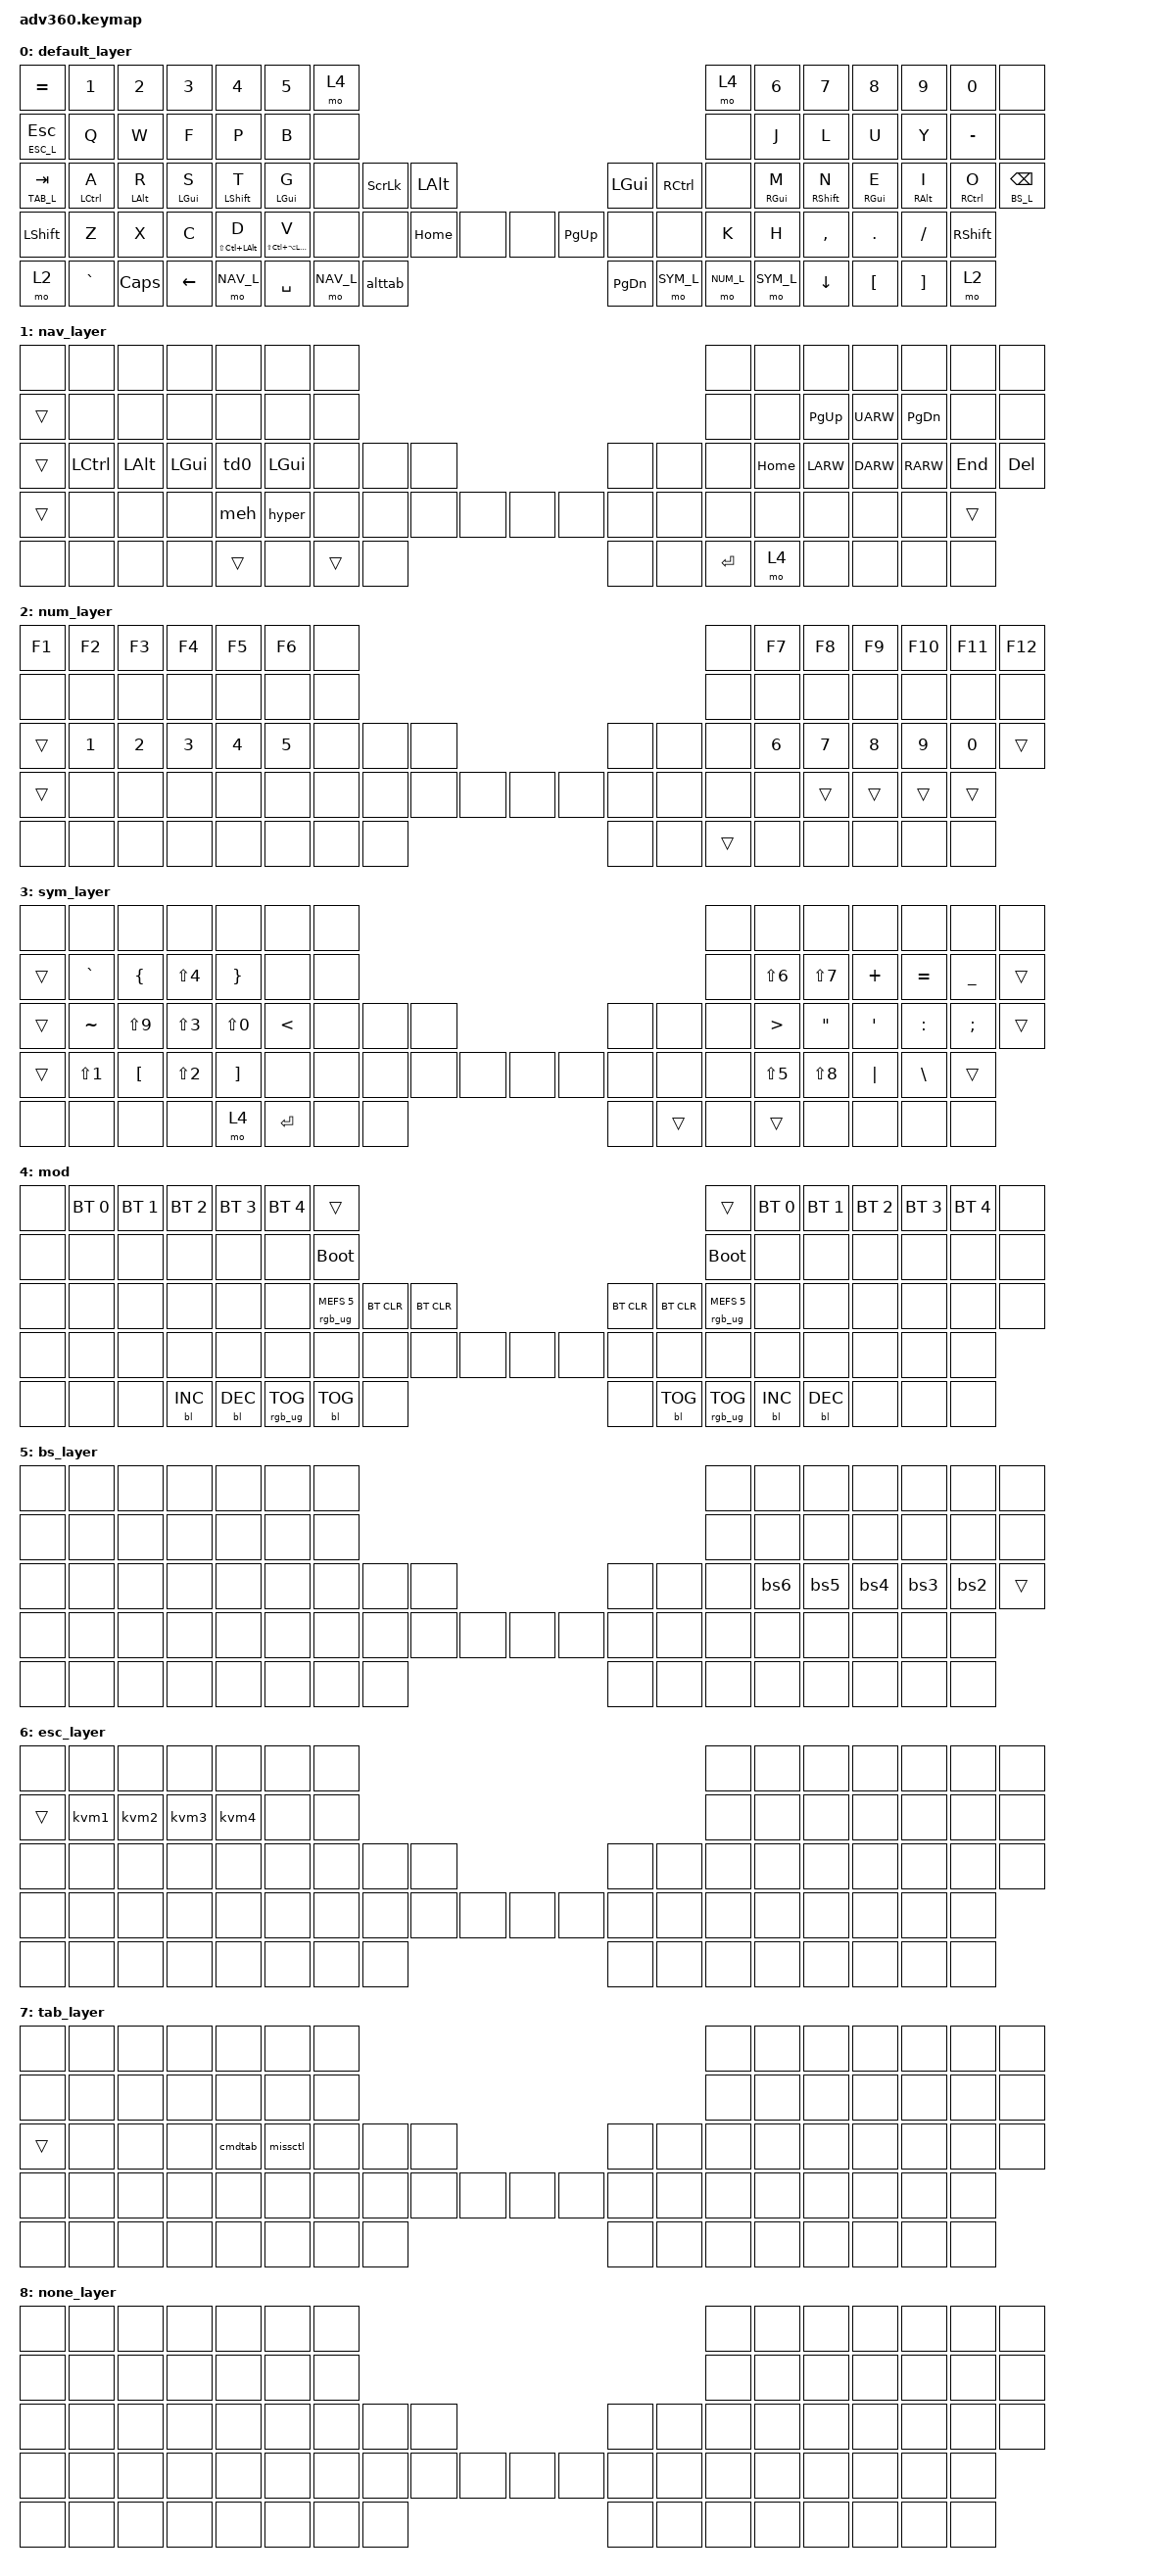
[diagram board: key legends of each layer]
#include <behaviors.dtsi>
#include <dt-bindings/zmk/keys.h>
#include <dt-bindings/zmk/bt.h>
#include <dt-bindings/zmk/rgb.h>
#include <dt-bindings/zmk/backlight.h>


#define BAS_L 0
#define NAV_L 1
#define NUM_L 2
#define SYM_L 3
#define MEDIA_L 4
#define BS_L 5
#define ESC_L 6
#define TAB_L 7

#define TAPPING_TERM 200

#define HYP LS(LC(LA(LGUI)))
#define HYPER(key) LS(LC(LA(LG(key))))

#define MEH LS(LC(LALT))
#define MEHK(key) LS(LC(LA(key)))

// Using layer taps on thumbs, having quick tap as well helps w/ repeating space/backspace
&lt { quick_tap_ms = <200>; };

&mt {
    tapping-term-ms = <TAPPING_TERM>;
    flavor = "tap-preferred";
};

/ {
    behaviors {
      #include "macros.dtsi"

      hm: homerow_mods {
          compatible = "zmk,behavior-hold-tap";
          label = "HOMEROW_MODS";
          #binding-cells = <2>;
          tapping-term-ms = <200>;
          quick_tap_ms = <175>;
          flavor = "tap-preferred";
          bindings = <&kp>, <&kp>;
      };

      td0: tap_dance_0 {
            compatible = "zmk,behavior-tap-dance";
            label = "TAP_DANCE_0";
            #binding-cells = <0>;
            tapping-term-ms = <300>;
            bindings = <&paste>, <&copy>, <&cut>;
        };  
    };
    macros {
        paste: paste {
            label = "paste_key";
            compatible = "zmk,behavior-macro";
            #binding-cells = <0>;
            wait-ms = <20>;
            bindings
                = <&macro_tap_time 20>
                , <&macro_press &kp LGUI>
                , <&macro_tap &kp V>
                , <&macro_release &kp LGUI>
                ;
        };
        copy: copy {
            label = "copy_key";
            compatible = "zmk,behavior-macro";
            #binding-cells = <0>;
            wait-ms = <20>;
            bindings
                = <&macro_tap_time 20>
                , <&macro_press &kp LGUI>
                , <&macro_tap &kp C>
                , <&macro_release &kp LGUI>
                ;
        };
        cut: cut {
            label = "cut_key";
            compatible = "zmk,behavior-macro";
            #binding-cells = <0>;
            wait-ms = <20>;
            bindings
                = <&macro_tap_time 20>
                , <&macro_press &kp LGUI>
                , <&macro_tap &kp X>
                , <&macro_release &kp LGUI>
                ;
        };
        cuthold: cuthold {
            label = "cuthold_key";
            compatible = "zmk,behavior-macro";
            #binding-cells = <0>;
            wait-ms = <20>;
            bindings
                = <&macro_tap_time 20>
                , <&macro_press &kp LGUI &kp X>
                , <&macro_pause_for_release>
                , <&macro_press &kp LGUI &kp V>
                ;
        };

        hyper: hyper {
            label = "hyper_key";
            compatible = "zmk,behavior-macro";
            #binding-cells = <0>;
            wait-ms = <10>;
            bindings
                = <&macro_tap_time 10>
                , <&macro_press &kp LSHFT &kp LCTRL &kp LALT &kp LGUI>
                , <&macro_pause_for_release>
                , <&macro_release &kp LSHFT &kp LCTRL &kp LALT &kp LGUI>
                ;
        };
        meh: meh {
            label = "meh_key";
            compatible = "zmk,behavior-macro";
            #binding-cells = <0>;
            wait-ms = <10>;
            bindings
                = <&macro_tap_time 10>
                , <&macro_press &kp LSHFT &kp LCTRL &kp LALT>
                , <&macro_pause_for_release>
                , <&macro_release &kp LSHFT &kp LCTRL &kp LALT>
                ;
        };
        bs2: bs2 {
            label = "bs2";
            compatible = "zmk,behavior-macro";
            #binding-cells = <0>;
            wait-ms = <10>;
            bindings
                = <&macro_tap_time 20>
                , <&macro_tap &kp BKSP &kp BKSP>
                ;
        };
        bs3: bs3 {
            label = "bs3";
            compatible = "zmk,behavior-macro";
            #binding-cells = <0>;
            wait-ms = <10>;
            bindings
                = <&macro_tap_time 20>
                , <&macro_tap &kp BKSP &kp BKSP &kp BKSP>
                ;
        };
        bs4: bs4 {
            label = "bs4";
            compatible = "zmk,behavior-macro";
            #binding-cells = <0>;
            wait-ms = <10>;
            bindings
                = <&macro_tap_time 20>
                , <&macro_tap &kp BKSP &kp BKSP &kp BKSP &kp BKSP>
                ;
        };
        bs5: bs5 {
            label = "bs5";
            compatible = "zmk,behavior-macro";
            #binding-cells = <0>;
            wait-ms = <10>;
            bindings
                = <&macro_tap_time 20>
                , <&macro_tap &kp BKSP &kp BKSP &kp BKSP &kp BKSP &kp BKSP>
                ;
        };
        bs6: bs6 {
            label = "bs6";
            compatible = "zmk,behavior-macro";
            #binding-cells = <0>;
            wait-ms = <10>;
            bindings
                = <&macro_tap_time 20>
                , <&macro_tap &kp BKSP &kp BKSP &kp BKSP &kp BKSP &kp BKSP &kp BKSP>
                ;
        };
        cmdtab: cmdtab {
            label = "cmdtab_key";
            compatible = "zmk,behavior-macro";
            #binding-cells = <0>;
            wait-ms = <20>;
            bindings
                = <&macro_tap_time 20>
                , <&macro_press &kp LGUI>
                , <&macro_tap &kp TAB>
                , <&macro_press &mo NAV_L>
                , <&macro_pause_for_release>
                , <&macro_release &mo NAV_L &kp LGUI>
                ;
        };
        alttab: alttab {
            label = "alttab_key";
            compatible = "zmk,behavior-macro";
            #binding-cells = <0>;
            wait-ms = <20>;
            bindings
                = <&macro_tap_time 20>
                , <&macro_press &kp LALT>
                , <&macro_tap &kp TAB>
                , <&macro_press &mo NAV_L>
                , <&macro_pause_for_release>
                , <&macro_release &mo NAV_L &kp LALT>
                ;
        };
        missctl: missctl {
            label = "missctl_key";
            compatible = "zmk,behavior-macro";
            #binding-cells = <0>;
            wait-ms = <20>;
            bindings
                = <&macro_tap_time 20>
                , <&macro_press &kp LCTRL>
                , <&macro_tap &kp UP>
                , <&macro_release &kp LCTRL>
                ;
        };
        kvm1: kvm1 {
            label = "kvm1";
            compatible = "zmk,behavior-macro";
            #binding-cells = <0>;
            wait-ms = <20>;
            bindings
                = <&macro_tap &kp SLCK &kp SLCK &kp 1>
                ;
        };
        kvm2: kvm2 {
            label = "kvm2";
            compatible = "zmk,behavior-macro";
            #binding-cells = <0>;
            wait-ms = <20>;
            bindings
                = <&macro_tap &kp SLCK &kp SLCK &kp 2>
                ;
        };
        kvm3: kvm3 {
            label = "kvm3";
            compatible = "zmk,behavior-macro";
            #binding-cells = <0>;
            wait-ms = <20>;
            bindings
                = <&macro_tap &kp SLCK &kp SLCK &kp 3>
                ;
        };
        kvm4: kvm4 {
            label = "kvm4";
            compatible = "zmk,behavior-macro";
            #binding-cells = <0>;
            wait-ms = <20>;
            bindings
                = <&macro_tap &kp SLCK &kp SLCK &kp 4>
                ;
        };
    };

  keymap {
    compatible = "zmk,keymap";

    default_layer {
      bindings = <
        &kp EQUAL       &kp N1      &kp N2     &kp N3     &kp N4       &kp N5      &mo 4                                                                        &mo 4 &kp N6     &kp N7      &kp N8      &kp N9      &kp N0      &none
        &lt ESC_L ESC   &kp Q       &kp W      &kp F      &kp P        &kp B       &none                                                                        &none &kp J      &kp L       &kp U       &kp Y       &kp MINUS   &none
        &lt TAB_L TAB         &hm LCTRL A &hm LALT R &hm LGUI S &hm LSHFT T  &hm LGUI G  &none           &kp SLCK &kp LALT             &kp LGUI  &kp RCTRL           &none &hm RGUI M &hm RSHFT N &hm RGUI E  &hm RALT I  &hm RCTRL O &lt BS_L BKSP
        &kp LSHFT       &kp Z       &kp X      &kp C      &hm MEH D        &hm HYP V               &none     &none      &kp HOME &none &none &kp PG_UP &none     &none        &kp K      &kp H       &kp COMMA   &kp DOT     &kp FSLH    &kp RSHFT
        &mo 2           &kp GRAVE   &kp CAPS   &kp LEFT   &mo NAV_L                        &kp SPACE &mo NAV_L  &alttab           &kp PG_DN &mo SYM_L &mo NUM_L                  &mo SYM_L   &kp DOWN    &kp LBKT    &kp RBKT    &mo 2
      >;
    };
    nav_layer {
      bindings = <
        &none   &none       &none      &none     &none &none     &none                                                       &none &none      &none        &none       &none      &none     &none
        &trans  &none       &none      &none     &none &none     &none                                                       &none &none      &kp PG_UP    &kp UARW    &kp PG_DN  &none     &none
        &trans  &kp LCTRL   &kp LALT   &kp LGUI  &td0 &kp LGUI  &none        &none &none             &none &none            &none &kp HOME   &kp LARW     &kp DARW    &kp RARW   &kp END   &kp DEL
        &trans  &none       &none      &none     &meh &hyper           &none  &none  &none &none &none &none &none  &none          &none      &none        &none       &none      &none     &trans
        &none   &none       &none      &none     &trans                 &none  &trans &none             &none &none &kp RET                   &mo 4        &none       &none      &none     &none
      >;
    };
    num_layer {
      bindings = <
        &kp F1  &kp F2      &kp F3     &kp F4    &kp F5  &kp F6     &none                                                       &none &kp F7    &kp F8       &kp F9      &kp F10     &kp F11     &kp F12
        &none   &none       &none      &none     &none   &none     &none                                                       &none &none      &none        &none       &none      &none     &none
        &trans  &kp N1      &kp N2     &kp N3    &kp N4  &kp N5    &none        &none &none             &none &none            &none &kp N6     &kp N7       &kp N8      &kp N9     &kp N0    &trans
        &trans   &none       &none      &none     &none   &none           &none  &none  &none &none &none &none &none  &none          &none      &none        &trans     &trans     &trans    &trans
        &none   &none       &none      &none     &none                   &none  &none &none             &none &none &trans                       &none        &none       &none      &none     &none
      >;
    };
    sym_layer {
      bindings = <
        &none   &none       &none      &none       &none       &none     &none                                                        &none &none      &none        &none       &none      &none     &none
        &trans  &kp GRAVE   &kp LBRC   &kp LS(N4)  &kp RBRC    &none     &none                                                        &none &kp LS(N6) &kp LS(N7)   &kp PLUS    &kp EQUAL  &kp UNDER &trans
        &trans  &kp TILDE   &kp LS(N9) &kp LS(N3)  &kp LS(N0)  &kp LT    &none         &none &none             &none &none            &none &kp GT     &kp DQT      &kp SQT     &kp COLON  &kp SEMI  &trans
        &trans  &kp LS(N1)  &kp LBKT   &kp LS(N2)  &kp RBKT    &none           &none   &none  &none &none &none &none &none  &none          &none      &kp LS(N5)   &kp LS(N8)  &kp PIPE   &kp BSLH  &trans
        &none   &none       &none      &none       &mo 4                       &kp RET &none &none             &none &trans &none                       &trans        &none       &none      &none     &none
      >;
    };
    mod {
      bindings = <
        &none &bt BT_SEL 0 &bt BT_SEL 1 &bt BT_SEL 2 &bt BT_SEL 3 &bt BT_SEL 4 &trans                                                                                                          &trans                 &bt BT_SEL 0 &bt BT_SEL 1 &bt BT_SEL 2 &bt BT_SEL 3 &bt BT_SEL 4 &none
        &none &none        &none        &none        &none        &none        &bootloader                                                                                                    &bootloader            &none        &none        &none        &none        &none        &none
        &none &none        &none        &none        &none        &none        &rgb_ug RGB_MEFS_CMD 5                 &bt BT_CLR &bt BT_CLR             &bt BT_CLR &bt BT_CLR                 &rgb_ug RGB_MEFS_CMD 5 &none        &none        &none        &none        &none        &none
        &none &none        &none        &none        &none        &none                               &none           &none      &none      &none &none &none      &none      &none                                  &none        &none        &none        &none        &none        &none
        &none &none        &none        &bl BL_INC   &bl BL_DEC                                       &rgb_ug RGB_TOG &bl BL_TOG &none                  &none      &bl BL_TOG &rgb_ug RGB_TOG                                     &bl BL_INC   &bl BL_DEC   &none        &none        &none
      >;
    };
    bs_layer {
      bindings = <
        &none   &none       &none      &none     &none   &none     &none                                                       &none &none      &none        &none       &none      &none     &none
        &none   &none       &none      &none     &none   &none     &none                                                       &none &none      &none        &none       &none      &none     &none
        &none   &none       &none      &none     &none   &none     &none        &none &none             &none &none            &none &bs6       &bs5         &bs4        &bs3       &bs2      &trans
        &none   &none       &none      &none     &none   &none           &none  &none  &none &none &none &none &none  &none          &none      &none        &none       &none      &none     &none
        &none   &none       &none      &none     &none                   &none  &none &none             &none &none &none                       &none        &none       &none      &none     &none
      >;
    };
    esc_layer {
      bindings = <
        &none   &none       &none      &none     &none   &none     &none                                                       &none &none      &none        &none       &none      &none     &none
        &trans  &kvm1       &kvm2      &kvm3     &kvm4   &none     &none                                                       &none &none      &none        &none       &none      &none     &none
        &none   &none       &none      &none     &none   &none     &none        &none &none             &none &none            &none &none      &none        &none       &none      &none     &none
        &none   &none       &none      &none     &none   &none           &none  &none  &none &none &none &none &none  &none          &none      &none        &none       &none      &none     &none
        &none   &none       &none      &none     &none                   &none  &none &none             &none &none &none                       &none        &none       &none      &none     &none
      >;
    };
    tab_layer {
      bindings = <
        &none   &none       &none      &none     &none   &none     &none                                                       &none &none      &none        &none       &none      &none     &none
        &none   &none       &none      &none     &none   &none     &none                                                       &none &none      &none        &none       &none      &none     &none
        &trans   &none       &none      &none     &cmdtab   &missctl     &none        &none &none             &none &none            &none &none      &none        &none       &none      &none     &none
        &none   &none       &none      &none     &none   &none           &none  &none  &none &none &none &none &none  &none          &none      &none        &none       &none      &none     &none
        &none   &none       &none      &none     &none                   &none  &none &none             &none &none &none                       &none        &none       &none      &none     &none
      >;
    };
    none_layer {
      bindings = <
        &none   &none       &none      &none     &none   &none     &none                                                       &none &none      &none        &none       &none      &none     &none
        &none   &none       &none      &none     &none   &none     &none                                                       &none &none      &none        &none       &none      &none     &none
        &none   &none       &none      &none     &none   &none     &none        &none &none             &none &none            &none &none      &none        &none       &none      &none     &none
        &none   &none       &none      &none     &none   &none           &none  &none  &none &none &none &none &none  &none          &none      &none        &none       &none      &none     &none
        &none   &none       &none      &none     &none                   &none  &none &none             &none &none &none                       &none        &none       &none      &none     &none
      >;
    };
  };
};
